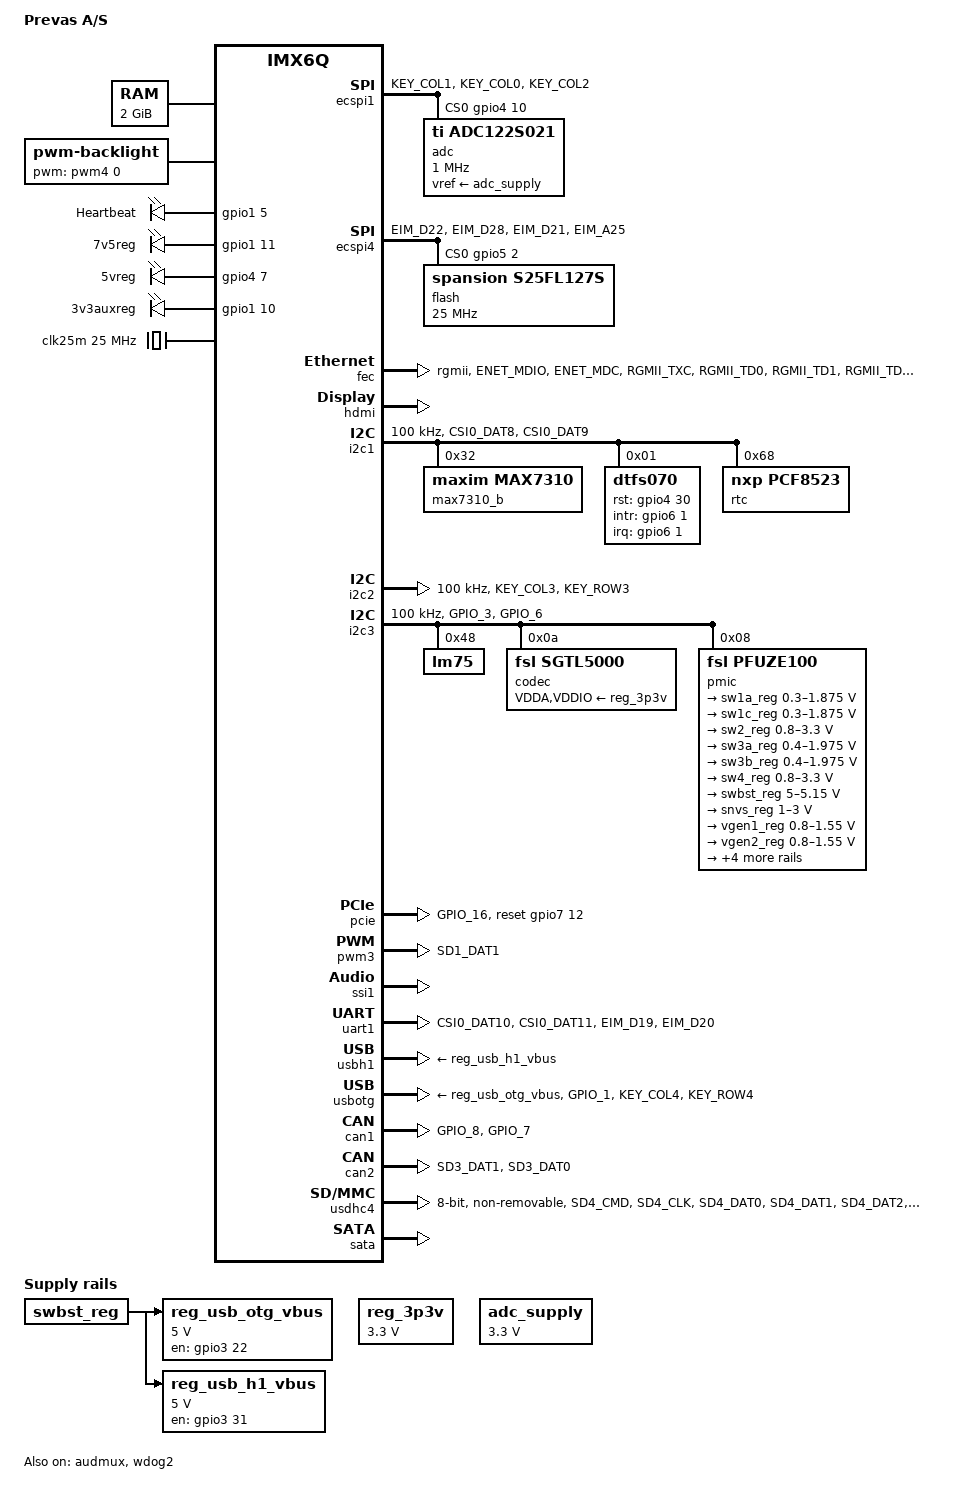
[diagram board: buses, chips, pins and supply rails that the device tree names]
/*
 * Copyright 2012 Freescale Semiconductor, Inc.
 * Copyright 2011 Linaro Ltd.
 *
 * The code contained herein is licensed under the GNU General Public
 * License. You may obtain a copy of the GNU General Public License
 * Version 2 or later at the following locations:
 *
 * http://www.opensource.org/licenses/gpl-license.html
 * http://www.gnu.org/copyleft/gpl.html
 */
/dts-v1/;

#include "imx6q.dtsi"

#include <dt-bindings/gpio/gpio.h>
#include <dt-bindings/input/input.h>

/ {
	model = "Prevas A/S";
	compatible = "fsl,imx6q-sabresd", "fsl,imx6q";

	chosen {
		stdout-path = &uart1;
	};

	memory {
		reg = <0x10000000 0x80000000>;
	};

	regulators {
		compatible = "simple-bus";
		#address-cells = <1>;
		#size-cells = <0>;

		reg_3p3v: 3p3v {
			compatible = "regulator-fixed";
			regulator-name = "3P3V";
			regulator-min-microvolt = <3300000>;
			regulator-max-microvolt = <3300000>;
			regulator-always-on;
		};

		reg_usb_otg_vbus: regulator@0 {
			compatible = "regulator-fixed";
			reg = <0>;
			regulator-name = "usb_otg_vbus";
			regulator-min-microvolt = <5000000>;
			regulator-max-microvolt = <5000000>;
			gpio = <&gpio3 22 0>;
			enable-active-high;
			vin-supply = <&swbst_reg>;
		};

		reg_usb_h1_vbus: regulator@1 {
			compatible = "regulator-fixed";
			reg = <1>;
			regulator-name = "usb_h1_vbus";
			regulator-min-microvolt = <5000000>;
			regulator-max-microvolt = <5000000>;
			gpio = <&gpio3 31 0>;
			enable-active-high;
			vin-supply = <&swbst_reg>;
		};

		adc_supply: fixedregulator {
			compatible = "regulator-fixed";
			regulator-name = "fixed-supply";
			regulator-min-microvolt = <3300000>;
			regulator-max-microvolt = <3300000>;
		};
	};

	sound {
		compatible = "fsl,imx6q-movis-sgtl5000", "fsl,imx-audio-sgtl5000";
		model = "imx6q-movis-sgtl5000";
		ssi-controller = <&ssi1>;
		audio-codec = <&codec>;
		audio-routing =
			"MIC_IN", "Mic Jack",
			"Mic Jack", "Mic Bias",
			"Headphone Jack", "HP_OUT";
		mux-int-port = <1>;
		mux-ext-port = <4>;
	};

	backlight {
		compatible = "pwm-backlight";
		pinctrl-names = "default";
		pinctrl-0 = <&pinctrl_pwm4>;
		pwms = <&pwm4 0 5000000>;
		brightness-levels = <0 4 8 16 32 64 128 255>;
		default-brightness-level = <7>;
		status = "okay";
	};

	leds {
		compatible = "gpio-leds";
		pinctrl-names = "default";
		pinctrl-0 = <&pinctrl_gpio_leds>;

		debug-led {
			label = "Heartbeat";
			gpios = <&gpio1 5 0>;
			linux,default-trigger = "heartbeat";
		};

		7v5reg {
			label = "7v5reg";
			gpios = <&gpio1 11 0>;
			default-state = "on";
		};

		5vreg {
			label = "5vreg";
			gpios = <&gpio4 7 0>;
			default-state = "on";
		};

		3v3auxreg {
			label = "3v3auxreg";
			gpios = <&gpio1 10 0>;
			default-state = "on";
		};
	};

	clocks {
		clk25m: clk25m {
			#clock-cells = <0>;
			compatible = "fixed-clock";
			clock-frequency = <25000000>;
		};
	};
};

&audmux {
	pinctrl-names = "default";
	pinctrl-0 = <&pinctrl_audmux>;
	status = "okay";
};

&clks {
	assigned-clocks = <&clks IMX6QDL_CLK_LDB_DI0_SEL>,
			  <&clks IMX6QDL_CLK_LDB_DI1_SEL>;
	assigned-clock-parents = <&clks IMX6QDL_CLK_PLL3_USB_OTG>,
				 <&clks IMX6QDL_CLK_PLL3_USB_OTG>;
};

&ecspi1 {
	fsl,spi-num-chipselects = <1>;
	cs-gpios = <&gpio4 10 0>;
	pinctrl-names = "default";
	pinctrl-0 = <&pinctrl_ecspi1>;
	status = "okay";

	adc: adc128@0 {
		compatible = "ti,adc122s021";
		reg = <0>;
		spi-max-frequency = <1000000>;
		vref-supply = <&adc_supply>;
	};
};

&ecspi4 {
	fsl,spi-num-chipselects = <1>;
	cs-gpios = <&gpio5 2 0>;
	pinctrl-names = "default";
	pinctrl-0 = <&pinctrl_ecspi4>;
	status = "okay";

	flash: s25fl127s@0 {
		#address-cells = <1>;
		#size-cells = <1>;
		compatible = "spansion,s25fl127s";
		spi-max-frequency = <25000000>;
		reg = <0>;
	};
};

&fec {
	pinctrl-names = "default";
	pinctrl-0 = <&pinctrl_enet>;
	phy-mode = "rgmii";
	phy-reset-gpios = <&gpio1 25 0>;
	fsl,magic-packet;
	status = "okay";
};

&hdmi {
	ddc-i2c-bus = <&i2c2>;
	status = "okay";
};

&i2c1 {
	clock-frequency = <100000>;
	pinctrl-names = "default";
	pinctrl-0 = <&pinctrl_i2c1>;
	status = "okay";
	        
        max7310_b: gpio@32 {
                compatible = "maxim,max7310";
                reg = <0x32>;
                gpio-controller;
                #gpio-cells = <2>;
        };

	dtfs070@01 {
		compatible = "dtfs070";
		reg = <0x01>;
		interrupt-parent = <&gpio6>;
		interrupts = <1 2>;
		gpio_rst = <&gpio4 30 0>;
		gpio_intr = <&gpio6 1 0>;
		status = "okay";
	};

        rtc: pcf8523@68 {
		compatible = "nxp,pcf8523";
		reg = <0x68>;
		status = "okay";
	};

};

&i2c2 {
	clock-frequency = <100000>;
	pinctrl-names = "default";
	pinctrl-0 = <&pinctrl_i2c2>;
	status = "okay";
};

&i2c3 {
	clock-frequency = <100000>;
	pinctrl-names = "default";
	pinctrl-0 = <&pinctrl_i2c3>;
	status = "okay";

	lm75@48 {
		compatible = "lm75";
		reg = <0x48>;
		status = "okay";
	};

	codec: sgtl5000@0a {
		compatible = "fsl,sgtl5000";
		reg = <0x0a>;
		clocks = <&clk25m>;
		VDDA-supply = <&reg_3p3v>;
		VDDIO-supply = <&reg_3p3v>;
	};

	pmic: pfuze100@08 {
		compatible = "fsl,pfuze100";
		reg = <0x08>;

		regulators {
			sw1a_reg: sw1ab {
				regulator-min-microvolt = <300000>;
				regulator-max-microvolt = <1875000>;
				regulator-boot-on;
				regulator-always-on;
				regulator-ramp-delay = <6250>;
			};

			sw1c_reg: sw1c {
				regulator-min-microvolt = <300000>;
				regulator-max-microvolt = <1875000>;
				regulator-boot-on;
				regulator-always-on;
				regulator-ramp-delay = <6250>;
			};

			sw2_reg: sw2 {
				regulator-min-microvolt = <800000>;
				regulator-max-microvolt = <3300000>;
				regulator-boot-on;
				regulator-always-on;
			};

			sw3a_reg: sw3a {
				regulator-min-microvolt = <400000>;
				regulator-max-microvolt = <1975000>;
				regulator-boot-on;
				regulator-always-on;
			};

			sw3b_reg: sw3b {
				regulator-min-microvolt = <400000>;
				regulator-max-microvolt = <1975000>;
				regulator-boot-on;
				regulator-always-on;
			};

			sw4_reg: sw4 {
				regulator-min-microvolt = <800000>;
				regulator-max-microvolt = <3300000>;
				regulator-always-on;
			};

			swbst_reg: swbst {
				regulator-min-microvolt = <5000000>;
				regulator-max-microvolt = <5150000>;
				regulator-always-on;
			};

			snvs_reg: vsnvs {
				regulator-min-microvolt = <1000000>;
				regulator-max-microvolt = <3000000>;
				regulator-boot-on;
				regulator-always-on;
			};

			vref_reg: vrefddr {
				regulator-boot-on;
				regulator-always-on;
			};

			vgen1_reg: vgen1 {
				regulator-min-microvolt = <800000>;
				regulator-max-microvolt = <1550000>;
			};

			vgen2_reg: vgen2 {
				regulator-min-microvolt = <800000>;
				regulator-max-microvolt = <1550000>;
			};

			vgen3_reg: vgen3 {
				regulator-min-microvolt = <1800000>;
				regulator-max-microvolt = <3300000>;
				regulator-always-on;
			};

			vgen4_reg: vgen4 {
				regulator-min-microvolt = <1800000>;
				regulator-max-microvolt = <3300000>;
			};

			vgen5_reg: vgen5 {
				regulator-min-microvolt = <1800000>;
				regulator-max-microvolt = <3300000>;
				regulator-always-on;
			};

			vgen6_reg: vgen6 {
				regulator-min-microvolt = <1800000>;
				regulator-max-microvolt = <3300000>;
				regulator-always-on;
			};
		};
	};
};

&iomuxc {
	pinctrl-names = "default";
	pinctrl-0 = <&pinctrl_hog>;

	imx6qdl-sabresd {
		pinctrl_hog: hoggrp {
			fsl,pins = <
				MX6QDL_PAD_GPIO_17__GPIO7_IO12			0x80000000
				MX6QDL_PAD_KEY_ROW1__GPIO4_IO09 		0x80000000
				MX6QDL_PAD_NANDF_CS0__GPIO6_IO11                0x80000000
				MX6QDL_PAD_NANDF_CLE__GPIO6_IO07                0x80000000   /* DNP */
				MX6QDL_PAD_SD1_DAT3__WDOG2_B			0x100b1
			>;
		};

		pinctrl_audmux: audmuxgrp {
			fsl,pins = <
				MX6QDL_PAD_SD2_DAT0__AUD4_RXD			0x130b0
				MX6QDL_PAD_SD2_DAT3__AUD4_TXC			0x130b0 
				MX6QDL_PAD_SD2_DAT2__AUD4_TXD			0x110b0 
				MX6QDL_PAD_SD2_DAT1__AUD4_TXFS			0x130b0
			>;
		};

		pinctrl_ecspi1: ecspi1grp {
			fsl,pins = <
				MX6QDL_PAD_KEY_COL1__ECSPI1_MISO	0x100b1
				MX6QDL_PAD_KEY_COL0__ECSPI1_SCLK	0x100b1
				MX6QDL_PAD_KEY_COL2__GPIO4_IO10		0x1b0b0
			>;
		};

		pinctrl_ecspi4: ecspi4grp {
			fsl,pins = <
				MX6QDL_PAD_EIM_D22__ECSPI4_MISO		0x100b1
				MX6QDL_PAD_EIM_D28__ECSPI4_MOSI		0x100b1
				MX6QDL_PAD_EIM_D21__ECSPI4_SCLK		0x100b1
				MX6QDL_PAD_EIM_A25__GPIO5_IO02		0x1b0b0
			>;
		};

		pinctrl_enet: enetgrp {
			fsl,pins = <
				MX6QDL_PAD_ENET_MDIO__ENET_MDIO		0x1b0b0
				MX6QDL_PAD_ENET_MDC__ENET_MDC		0x1b0b0
				MX6QDL_PAD_RGMII_TXC__RGMII_TXC		0x1b0b0
				MX6QDL_PAD_RGMII_TD0__RGMII_TD0		0x1b0b0
				MX6QDL_PAD_RGMII_TD1__RGMII_TD1		0x1b0b0
				MX6QDL_PAD_RGMII_TD2__RGMII_TD2		0x1b0b0
				MX6QDL_PAD_RGMII_TD3__RGMII_TD3		0x1b0b0
				MX6QDL_PAD_RGMII_TX_CTL__RGMII_TX_CTL	0x1b0b0
				MX6QDL_PAD_ENET_REF_CLK__ENET_TX_CLK	0x1b0b0
				MX6QDL_PAD_RGMII_RXC__RGMII_RXC		0x1b0b0
				MX6QDL_PAD_RGMII_RD0__RGMII_RD0		0x1b0b0
				MX6QDL_PAD_RGMII_RD1__RGMII_RD1		0x1b0b0
				MX6QDL_PAD_RGMII_RD2__RGMII_RD2		0x1b0b0
				MX6QDL_PAD_RGMII_RD3__RGMII_RD3		0x1b0b0
				MX6QDL_PAD_RGMII_RX_CTL__RGMII_RX_CTL	0x1b0b0
				MX6QDL_PAD_ENET_TX_EN__GPIO1_IO28	0x80000000
				MX6QDL_PAD_ENET_CRS_DV__GPIO1_IO25	0x80000000
			>;
		};

		pinctrl_i2c1: i2c1grp {
			fsl,pins = <
				MX6QDL_PAD_CSI0_DAT8__I2C1_SDA		0x4001b8b1
				MX6QDL_PAD_CSI0_DAT9__I2C1_SCL		0x4001b8b1
			>;
		};

		pinctrl_i2c2: i2c2grp {
			fsl,pins = <
				MX6QDL_PAD_KEY_COL3__I2C2_SCL		0x4001b8b1
				MX6QDL_PAD_KEY_ROW3__I2C2_SDA		0x4001b8b1
			>;
		};

		pinctrl_i2c3: i2c3grp {
			fsl,pins = <
				MX6QDL_PAD_GPIO_3__I2C3_SCL		0x4001b8b1
				MX6QDL_PAD_GPIO_6__I2C3_SDA		0x4001b8b1
			>;
		};

		pinctrl_pcie: pciegrp {
			fsl,pins = <
				MX6QDL_PAD_GPIO_16__GPIO7_IO11		0x80000000
			>;
		};

		pinctrl_pwm2: pwm2grp {
			fsl,pins = <
				MX6QDL_PAD_SD1_DAT2__PWM2_OUT		0x1b0b1
			>;
		};

		pinctrl_pwm3: pwm3grp {
			fsl,pins = <
				MX6QDL_PAD_SD1_DAT1__PWM3_OUT		0x1b0b1
			>;
		};

		pinctrl_pwm4: pwm4grp {
			fsl,pins = <
				MX6QDL_PAD_SD1_CMD__PWM4_OUT		0x1b0b1
			>;
		};

		pinctrl_uart1: uart1grp {
			fsl,pins = <
				MX6QDL_PAD_CSI0_DAT10__UART1_TX_DATA	0x1b0b1
				MX6QDL_PAD_CSI0_DAT11__UART1_RX_DATA	0x1b0b1
				MX6QDL_PAD_EIM_D19__UART1_CTS_B 	0x1b0b1
				MX6QDL_PAD_EIM_D20__UART1_RTS_B		0x1b0b1
			>;
		};

		pinctrl_usbotg: usbotggrp {
			fsl,pins = <
				MX6QDL_PAD_GPIO_1__USB_OTG_ID			0x17059
                                MX6QDL_PAD_KEY_COL4__USB_OTG_OC                 0x17059
                                MX6QDL_PAD_KEY_ROW4__USB_OTG_PWR                0x17059
			>;
		};

		pinctrl_usdhc4: usdhc4grp {
			fsl,pins = <
				MX6QDL_PAD_SD4_CMD__SD4_CMD		0x17059
				MX6QDL_PAD_SD4_CLK__SD4_CLK		0x10059
				MX6QDL_PAD_SD4_DAT0__SD4_DATA0		0x17059
				MX6QDL_PAD_SD4_DAT1__SD4_DATA1		0x17059
				MX6QDL_PAD_SD4_DAT2__SD4_DATA2		0x17059
				MX6QDL_PAD_SD4_DAT3__SD4_DATA3		0x17059
				MX6QDL_PAD_SD4_DAT4__SD4_DATA4		0x17059
				MX6QDL_PAD_SD4_DAT5__SD4_DATA5		0x17059
				MX6QDL_PAD_SD4_DAT6__SD4_DATA6		0x17059
				MX6QDL_PAD_SD4_DAT7__SD4_DATA7		0x17059
				MX6QDL_PAD_NANDF_ALE__GPIO6_IO08		0x80000000
			>;
		};

		pinctrl_flexcan1: flexcan1grp {
			fsl,pins = <
				MX6QDL_PAD_GPIO_8__FLEXCAN1_RX		0x80000000
				MX6QDL_PAD_GPIO_7__FLEXCAN1_TX		0x80000000
			>;
		};
		pinctrl_flexcan2: flexcan2grp {
			fsl,pins = <
				MX6QDL_PAD_SD3_DAT1__FLEXCAN2_RX	0x80000000
				MX6QDL_PAD_SD3_DAT0__FLEXCAN2_TX	0x80000000
			>;
		};
	};

	gpio_leds {
		pinctrl_gpio_leds: gpioledsgrp {
			fsl,pins = <
				MX6QDL_PAD_GPIO_5__GPIO1_IO05 0x1b0b0
				MX6QDL_PAD_KEY_ROW0__GPIO4_IO07			0x100b1
				MX6QDL_PAD_SD2_CLK__GPIO1_IO10			0x100b1
				MX6QDL_PAD_SD2_CMD__GPIO1_IO11			0x100b1
			>;
		};
	};
};

&gpc {
	fsl,wdog-reset = <2>;
};

&pcie {
	pinctrl-names = "default";
	pinctrl-0 = <&pinctrl_pcie>;
	reset-gpio = <&gpio7 12 0>;
	status = "okay";
};

&pwm3 {
	pinctrl-names = "default";
	pinctrl-0 = <&pinctrl_pwm3>;
	status = "okay";
};

&ssi1 {
	status = "okay";
};

&uart1 {
	pinctrl-names = "default";
	pinctrl-0 = <&pinctrl_uart1>;
	status = "okay";
};

&usbh1 {
	vbus-supply = <&reg_usb_h1_vbus>;
	status = "okay";
};

&usbotg {
	vbus-supply = <&reg_usb_otg_vbus>;
	pinctrl-names = "default";
	pinctrl-0 = <&pinctrl_usbotg>;
	disable-over-current;
	status = "okay";
};

&can1 {
        pinctrl-names = "default";
        pinctrl-0 = <&pinctrl_flexcan1>;
        status = "okay";
};

&can2 {
        pinctrl-names = "default";
        pinctrl-0 = <&pinctrl_flexcan2>;
        status = "okay";
};

&usdhc4 {
	pinctrl-names = "default";
	pinctrl-0 = <&pinctrl_usdhc4>;
	bus-width = <8>;
	non-removable;
	no-1-8-v;
	keep-power-in-suspend;
	status = "okay";
};

&wdog1 {
	status = "disabled";
};

&wdog2 {
	status = "okay";
};

&sata {
	status = "okay";
};
